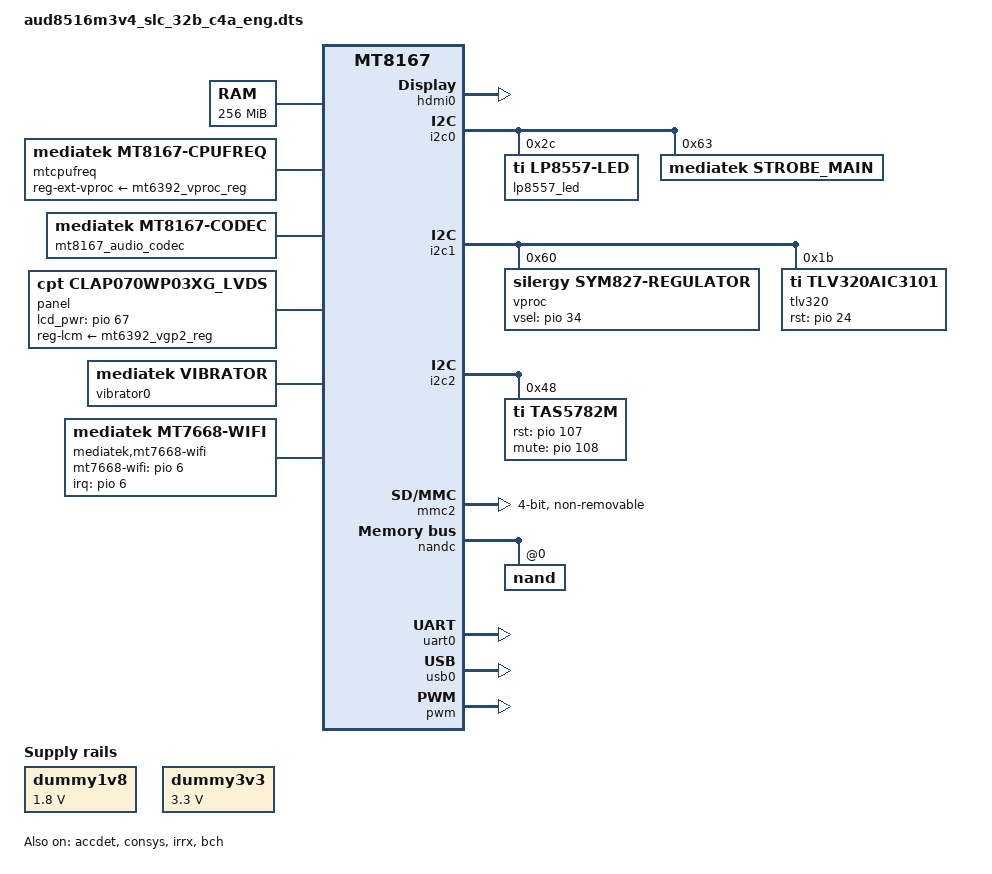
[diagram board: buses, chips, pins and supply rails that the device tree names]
/*
 * Copyright (c) 2014-2015 MediaTek Inc.
 *
 * This program is free software; you can redistribute it and/or modify
 * it under the terms of the GNU General Public License version 2 as
 * published by the Free Software Foundation.
 *
 * This program is distributed in the hope that it will be useful,
 * MERCHANTABILITY or FITNESS FOR A PARTICULAR PURPOSE.  See the
 * GNU General Public License for more details.
 */

/dts-v1/;

#include "mt8167.dtsi"
#include "mt8516-dcdc.dtsi"
#include "mt6392.dtsi"
/ {
	/*
	IMPORTANT: 	If you modify the memory size,please modify mtee-reserved-memory size together.
					mtee must be located begin with the last 3MB of dram
	*/
	memory@00000000 {
		device_type = "memory";
		reg = <0 0x40000000 0 0x10000000>;
	};

	reserved-memory {
		mtee-reserved-memory {
			compatible = "mediatek,mt8167-mtee-reserved-memory";
			no-map;
			reg = <0 0x4FD00000 0 0x300000>;
		};
	};

	/* chosen */
	chosen {
		bootargs = "console=tty0 console=ttyS0,921600n1 earlycon=uart8250,mmio32,0x11005000 ubi.mtd=8 root=ubi0:aud8516m3v4-slc-32b-c4a-eng-rootfs rootfstype=ubifs vmalloc=496M androidboot.hardware=aud8516m3v4-slc-32b-c4a-user";
	};

/* sensor standardization */
	cust_accel@0 {
		compatible = "mediatek,mpu6050g";
		i2c_num	= <2>;
		i2c_addr = <0x68 0 0 0>;
		direction = <7>;
		power_id = <0xffff>;
		power_vol = <0>;
		firlen = <0>;
		is_batch_supported = <0>;
	};

	cust_gyro@0 {
		compatible = "mediatek,mpu6050gy";
		i2c_num = <2>;
		i2c_addr = <0x68 0 0 0>;
		direction = <7>;
		power_id = <0xffff>;
		power_vol = <0>;
		firlen = <0>;
		is_batch_supported = <0>;
	};

	cust_mag@0 {
		compatible = "mediatek,akm09911";
		i2c_num = <2>;
		i2c_addr = <0x0C 0 0 0>;
		direction = <6>;
		power_id = <0xffff>;
		power_vol = <0>;
		is_batch_supported			= <0>;
	};
/* sensor gpio standization */

	dummy1v8: fixedregulator@0 {
		compatible = "regulator-fixed";
		regulator-name = "mmc_io";
		regulator-min-microvolt = <1800000>;
		regulator-max-microvolt = <1800000>;
		regulator-always-on;
	};

	dummy3v3: fixedregulator@1 {
		compatible = "regulator-fixed";
		regulator-name = "mmc_power";
		regulator-min-microvolt = <3300000>;
		regulator-max-microvolt = <3300000>;
		regulator-always-on;
	};

	ethernet: ethernet@11180000 {
		compatible = "mediatek,mt8516-ethernet";
		reg = <0 0x11180000 0 0x1000>,
		      <0 0x10003400 0 0x1000>;
		interrupts = <GIC_SPI 111 IRQ_TYPE_LEVEL_LOW>;
		eth-gpios = <&pio 34 0>;
		clocks = <&topckgen CLK_TOP_RG_ETH>,
			 <&topckgen CLK_TOP_66M_ETH>,
			 <&topckgen CLK_TOP_133M_ETH>;
		clock-names = "core", "reg", "trans";
		eth-regulator-supply = <&mt6392_vmch_reg>;
		pinctrl-names = "default";
		pinctrl-0 = <&ethernet_pins_default>;
		mac-address = [00 00 00 00 00 00];
		/*local-mac-address = [00 0C E7 06 00 00];*/
		status = "disabled";
	};

/*
	gpio-keys {
		compatible = "gpio-keys";
		pinctrl-names = "default";
		pinctrl-0 = <&blth_key>;

		button@0 {
			debounce_interval = <50>;
			wakeup-source;
			gpio-key,wakeup = <1>;
			gpios = <&pio 60 1>;
			label = "Bluetooth";
			linux,input-type = <0x1>;
			linux,code = <237>;
		};
	};
*/

	mtcpufreq {
		compatible = "mediatek,mt8167-cpufreq";
		reg-ext-vproc-supply = <&mt6392_vproc_reg>;
	};

	mt8167_audio_codec: mt8167_audio_codec {
		compatible = "mediatek,mt8167-codec";
		clocks = <&topckgen CLK_TOP_AUDIO>;
		clock-names = "bus";
		mediatek,afe-regmap = <&afe>;
		mediatek,apmixedsys-regmap = <&apmixedsys>;
		mediatek,pwrap-regmap = <&pwrap>;
		mediatek,speaker-mode = <0>; /* 0(CLASSD) 1(CLASSAB) */
		mediatek,dmic-wire-mode = <1>; /* 0(ONE_WIRE) 1(TWO_WIRE) */
	};

	panel: panel@0 {
		compatible = "cpt,clap070wp03xg_lvds";
		gpio_lcd_pwr = <&pio 67 0>;
		reg-lcm-supply = <&mt6392_vgp2_reg>;
	};

	sound: sound {
		compatible = "mediatek,mt8167s-som";
		mediatek,platform = <&afe>;
		pinctrl-names = "default";
		pinctrl-0 = <&aud_pins_default>;
		tdmadc-1p8v-supply = <&mt6392_vcn18_reg>;
		tdmadc-3p3v-supply = <&mt6392_vmch_reg>;
		mediatek,audio-codec = <&tas5782m>;
		mediatek,tdmin-adc = <&tlv320>;
		status = "okay";
	};


	vibrator0:vibrator@0 {
		compatible = "mediatek,vibrator";
		vib_timer = <25>;
		vib_limit = <9>;
		vib_vol= <5>;
	};

	/* WiFi */
	mediatek,mt7668-wifi {
		compatible = "mediatek,mt7668-wifi";
		mt7668-wifi-gpio = <&pio 6 0>;  /* WOW */
		interrupt-parent = <&pio>;
		interrupts = <6 IRQ_TYPE_LEVEL_LOW>; /* WOW IRQ */
	};
};

&accdet {
	interrupts-extended = <&sysirq GIC_SPI 152 IRQ_TYPE_LEVEL_LOW>,
			<&pio 16 IRQ_TYPE_LEVEL_HIGH>;
	eint-debounce = <256000>;
	accdet-gpio = <&pio 16 0>;
	accdet-mic-vol = <7>;
	headset-mode-setting = <0x500 0x500 1 0x1f0 0x800 0x800 0x20>;
	accdet-plugout-debounce = <20>;
	/*1:ACC mode, 2:low cost without in bias, 6:low cost with in bias*/
	accdet-mic-mode = <1>;
	/*0--MD_MAX--UP_MAX--DW_MAX*/
	headset-three-key-threshold = <0 80 220 500>;
	/*0--MD_MAX--VOICE_MAX--UP_MAX--DW_MAX*/
	headset-four-key-threshold = <0 58 121 192 450>;
	status = "okay";
};

&afe {
	/* 0(HDMI) 1(I2S) 2(TDM) */
	mediatek,tdm-out-mode = <1>;
	/* 0(IR1) 1(IRQ2) 4(IRQ7)*/
	mediatek,awb-irq-mode = <4>;
	mediatek,tdm-in-lrck-cycle = <1>;
	/*0(Spearated Mode) 1(Share Mode)*/
	mediatek,i2s-clock-modes = <1 1>;
};

&consys {
	pinctrl-names = "default", "gps_lna_state_init", "gps_lna_state_oh", "gps_lna_state_ol";
	pinctrl-0 = <&consys_pins_default>;
	pinctrl-1 = <&gpslna_pins_init>;
	pinctrl-2 = <&gpslna_pins_oh>;
	pinctrl-3 = <&gpslna_pins_ol>;
	vcn18-supply = <&mt6392_vcn18_reg>;
	vcn35-supply = <&mt6392_vcn35_reg>;
	status = "okay";
};

&cpu0 {
	proc-supply = <&mt6392_vproc_reg>;
};

&cpu1 {
	proc-supply = <&mt6392_vproc_reg>;
};

&cpu2 {
	proc-supply = <&mt6392_vproc_reg>;
};

&cpu3 {
	proc-supply = <&mt6392_vproc_reg>;
};

&hdmi0 {
	pinctrl-names = "default", "hdmi_hpd";
	pinctrl-0 = <&hdmi_pins_default>;
	pinctrl-1 = <&hdmi_pins_hpd>;
	status = "okay";
};

&i2c0 {
	clock-div = <2>;
	pinctrl-names = "default";
	pinctrl-0 = <&i2c0_pins_a>;
	status = "okay";


	lp8557_led@2c {
		compatible = "ti,lp8557-led";
		reg = <0x2c>;
	};

	strobe_main@63 {
		compatible = "mediatek,strobe_main";
		reg = <0x63>;
	};
};

&i2c1 {
	clock-div = <2>;
	pinctrl-names = "default";
	pinctrl-0 = <&i2c1_pins_a>;
	status = "okay";

	vproc: sym827@60 {
		compatible = "silergy,sym827-regulator";
		reg = <0x60>;
		regulator-name = "vproc";
		regulator-min-microvolt = <600000>;
		regulator-max-microvolt = <1387500>;
		regulator-enable-ramp-delay = <400>;
		regulator-ramp-delay = <8333>;
		regulator-always-on;
		vsel-gpio = <&pio 34 0>;
	};
/*
	// tdm in 4+2ch,0,1,3
	tlv320:tlv320aic3101@18 {
		compatible = "ti,tlv320aic3101";
		reg = <0x18>;
		rst-gpio = <&pio 24 0>;
		adc-pos = <0>;
		ref-ch = <2>;
		dmic-en =<0>;// 0 for amic, 1 for dmic
	};

	tlv320aic3101@19 {
		compatible = "ti,tlv320aic3101";
		reg = <0x19>;
		rst-gpio = <&pio 24 0>;
		adc-pos = <1>;
		ref-ch = <2>;
	};

	tlv320aic3101@1a {
		compatible = "ti,tlv320aic3101";
		reg = <0x1a>;
	};
*/
	tlv320:tlv320aic3101@1b {
		compatible = "ti,tlv320aic3101";
		reg = <0x1b>;
		rst-gpio = <&pio 24 0>;
		dmic-en =<1>;// 0 for amic, 1 for dmic
	};
};

&i2c2 {
	clock-div = <2>;
	pinctrl-names = "default";
	pinctrl-0 = <&i2c2_pins_a>;
	status = "okay";

	tas5782m: tas5782m@48 {
		compatible = "ti,tas5782m";
		reg = <0x48>;
		rst-gpio = <&pio 107 0>;
		mute-gpio = <&pio 108 0>;
	};
};

&irrx {
	pinctrl-names = "default";
	pinctrl-0 = <&irrx_pins_ir_input>;
	status = "okay";
};

&keypad {
	mediatek,kpd-key-debounce = <1024>;
	mediatek,kpd-sw-pwrkey = <116>;
	mediatek,kpd-hw-pwrkey = <8>;
	mediatek,kpd-sw-rstkey  = <114>;
	mediatek,kpd-hw-rstkey = <17>;
	mediatek,kpd-use-extend-type = <0>;
	/*HW Keycode [0~71] -> Linux Keycode*/
	mediatek,kpd-hw-map-num = <72>;
	mediatek,kpd-hw-init-map = <115 50 0 0 0 0 0 0 0 30 119 0 0 0 0 0 0 0 0 0 0 0 0 0
			0 0 0 0 0 0 0 0 0 0 0 0 0 0 0 0 0 0 0 0 0 0 0 0
			0 0 0 0 0 0 0 0 0 0 0 0 0 0 0 0 0 0 0 0 0 0 0 0 >;
	mediatek,kpd-pwrkey-eint-gpio = <0>;
	mediatek,kpd-pwkey-gpio-din  = <0>;
	mediatek,kpd-hw-dl-key0 = <0>;
	mediatek,kpd-hw-dl-key1 = <17>;
	mediatek,kpd-hw-dl-key2 = <8>;
	mediatek,kpd-hw-recovery-key = <17>;
	mediatek,kpd-hw-factory-key  = <0>;
	pinctrl-names = "default";
	pinctrl-0 = <&keypad_pins_default>;
};

&lcm {
	gpio_lcd_pwr = <&pio 67 0>;
	reg-lcm-supply = <&mt6392_vgp2_reg>;
};

&mmc2 {
	pinctrl-names = "default", "state_uhs", "state_dat1", "state_eint";
	pinctrl-0 = <&mmc2_pins_default>;
	pinctrl-1 = <&mmc2_pins_uhs>;
	pinctrl-2 = <&mmc2_pins_dat1>;
	pinctrl-3 = <&mmc2_dat1_eint>;
	eint-gpios = <&pio 71 0>;
	status = "okay";
	bus-width = <4>;
	max-frequency = <200000000>;
	cap-sd-highspeed;
	sd-uhs-sdr50;
	sd-uhs-sdr104;
	keep-power-in-suspend;
	enable-sdio-wakeup;
	cap-sdio-irq;
	non-removable;
};

&bch {
	status = "okay";
};

&nandc {
	pinctrl-names = "default";
	pinctrl-0 = <&nfi_pins_default>;
	vcc-supply = <&mt6392_vemc3v3_reg>;
	status = "okay";
	nand@0 {
		reg = <0>;
		nand-on-flash-bbt;
		nand-ecc-mode = "hw";
	};
};

&pio {
	pinctrl-names = "default";
	pinctrl-0 = <&state_default>;

	state_default:pinconf_default {
	};


pwm_goio_def_cfg: pwmdefault {
		pins_cmd_dat {
			pinmux = <MT8167_PIN_54_DISP_PWM__FUNC_PWM_B>;
			};
};

	aud_pins_default: audiodefault {
		pins_cmd_dat {
			pinmux = <MT8167_PIN_25_EINT25__FUNC_I2S_8CH_MCK>,
				 <MT8167_PIN_55_I2S_DATA_IN__FUNC_I2S_8CH_DO1>,
				 <MT8167_PIN_56_I2S_LRCK__FUNC_I2S_8CH_LRCK>,
				 <MT8167_PIN_57_I2S_BCK__FUNC_I2S_8CH_BCK>,
				 <MT8167_PIN_100_CMDAT0__FUNC_TDM_RX_MCK>,
				 <MT8167_PIN_101_CMDAT1__FUNC_TDM_RX_BCK>,
				 <MT8167_PIN_102_CMMCLK__FUNC_TDM_RX_LRCK>,
				 <MT8167_PIN_103_CMPCLK__FUNC_TDM_RX_DI>,
				 <MT8167_PIN_1_EINT1__FUNC_I2S2_DI>,
				 <MT8167_PIN_36_MRG_CLK__FUNC_I2S0_BCK>,
				 <MT8167_PIN_37_MRG_SYNC__FUNC_I2S0_LRCK>,
				 <MT8167_PIN_38_MRG_DI__FUNC_I2S0_DI>,
				 <MT8167_PIN_20_EINT20__FUNC_I2S3_DO>,
				 <MT8167_PIN_13_EINT13__FUNC_SPDIF_IN>;
				 drive-strength = <MTK_DRIVE_8mA>;
		};
			pins_cmd_dat1 {
		pinmux = <MT8167_PIN_22_EINT22__FUNC_SPDIF_OUT>;
		 drive-strength = <MTK_DRIVE_16mA>;
		};
	};
/*
	blth_key: eint60default {

		pins_cmd_dat {
			pins = <MT8167_PIN_60_SDA2__FUNC_GPIO60>;
			slew-rate = <0>;
			bias-pull-up = <MTK_PUPD_SET_R1R0_01>;
			input-enable;
		};

	};
*/
	
	/* CONSYS GPIO Settings - Start */
	consys_pins_default: default {

	};
	/* CONSYS GPIO Settings - End */

	ethernet_pins_default: ethernet {
		pins_ethernet {
			pinmux = <MT8167_PIN_0_EINT0__FUNC_EXT_TXD0>,
				 <MT8167_PIN_1_EINT1__FUNC_EXT_TXD1>,
				 <MT8167_PIN_2_EINT2__FUNC_EXT_TXD2>,
				 <MT8167_PIN_3_EINT3__FUNC_EXT_TXD3>,
				 <MT8167_PIN_4_EINT4__FUNC_EXT_TXC>,
				 <MT8167_PIN_5_EINT5__FUNC_EXT_RXER>,
				 /* <MT8167_PIN_6_EINT6__FUNC_EXT_RXC>, */
				 <MT8167_PIN_7_EINT7__FUNC_EXT_RXDV>,
				 <MT8167_PIN_8_EINT8__FUNC_EXT_RXD0>,
				 <MT8167_PIN_9_EINT9__FUNC_EXT_RXD1>,
				 <MT8167_PIN_10_EINT10__FUNC_EXT_RXD2>,
				 <MT8167_PIN_11_EINT11__FUNC_EXT_RXD3>,
				 <MT8167_PIN_12_EINT12__FUNC_EXT_TXEN>,
				 <MT8167_PIN_37_MRG_SYNC__FUNC_EXT_COL>,
				 <MT8167_PIN_38_MRG_DI__FUNC_EXT_MDIO>,
				 <MT8167_PIN_39_MRG_DO__FUNC_EXT_MDC>;
		};
	};

	/* CONSYS GPIO Settings - Start */
	gpslna_pins_init: gpslna@0 {
	};

	gpslna_pins_oh: gpslna@1 {
	};

	gpslna_pins_ol: gpslna@2 {
	};
	/* CONSYS GPIO Settings - End */

	hdmi_pins_default: hdmi_pins_default {
	};

	hdmi_pins_hpd: hdmi_pins_hpd {
		pins_cmd_dat {
			pins = <MT8167_PIN_122_HTPLG__FUNC_HTPLG>;
			slew-rate = <0>;
			bias-pull-down;
		};
	};

	i2c0_pins_a: i2c0@0 {
		pins1 {
			pinmux = <MT8167_PIN_58_SDA0__FUNC_SDA0_0>,
				 <MT8167_PIN_59_SCL0__FUNC_SCL0_0>;
			bias-disable;
		};
	};

	i2c1_pins_a: i2c1@0 {
		pins1 {
			pinmux = <MT8167_PIN_52_SDA1__FUNC_SDA1_0>,
				 <MT8167_PIN_53_SCL1__FUNC_SCL1_0>;
			bias-disable;
		};
	};

	i2c2_pins_a: i2c2@0 {
		pins1 {
			pinmux = <MT8167_PIN_60_SDA2__FUNC_SDA2_0>,
				 <MT8167_PIN_61_SCL2__FUNC_SCL2_0>;
			bias-disable;
		};
	};
	
	
	irrx_pins_ir_input: irrx_pin_ir {
		pins_cmd_dat {
		pinmux = <MT8167_PIN_23_EINT23__FUNC_IR>;
		bias-pull-up = <100>;
		};
	};

	keypad_pins_default:keypaddefault {
		pins_row {
			pinmux = <MT8167_PIN_40_KPROW0__FUNC_KPROW0>,
				 <MT8167_PIN_41_KPROW1__FUNC_KPROW1>;
			output-low;
			bias-pull-down = <100>;
		};

		pins_col {
			pinmux = <MT8167_PIN_42_KPCOL0__FUNC_KPCOL0>,
				 <MT8167_PIN_43_KPCOL1__FUNC_KPCOL1>;
			input-enable;
			bias-pull-up = <101>;
		};
	};
	mmc2_pins_default: mmc2default {
		pins_cmd_dat {
			pinmux = <MT8167_PIN_70_MSDC2_DAT0__FUNC_MSDC2_DAT0>,
				<MT8167_PIN_71_MSDC2_DAT1__FUNC_MSDC2_DAT1>,
				<MT8167_PIN_72_MSDC2_DAT2__FUNC_MSDC2_DAT2>,
				<MT8167_PIN_73_MSDC2_DAT3__FUNC_MSDC2_DAT3>,
				<MT8167_PIN_68_MSDC2_CMD__FUNC_MSDC2_CMD>;
			input-enable;
			drive-strength = <MTK_DRIVE_6mA>;
			bias-pull-up = <MTK_PUPD_SET_R1R0_01>;
		};

		pins_clk {
			pinmux = <MT8167_PIN_69_MSDC2_CLK__FUNC_MSDC2_CLK>;
			drive-strength = <MTK_DRIVE_6mA>;
			bias-pull-down = <MTK_PUPD_SET_R1R0_10>;
		};

		pins_pmu_en {
			pins = <MT8167_PIN_2_EINT2__FUNC_GPIO2>;
			output-low;
		};
	};

	mmc2_pins_uhs: mmc2@0 {
		pins_cmd_dat {
			pinmux = <MT8167_PIN_70_MSDC2_DAT0__FUNC_MSDC2_DAT0>,
				<MT8167_PIN_71_MSDC2_DAT1__FUNC_MSDC2_DAT1>,
				<MT8167_PIN_72_MSDC2_DAT2__FUNC_MSDC2_DAT2>,
				<MT8167_PIN_73_MSDC2_DAT3__FUNC_MSDC2_DAT3>,
				<MT8167_PIN_68_MSDC2_CMD__FUNC_MSDC2_CMD>;
			input-enable;
			drive-strength = <MTK_DRIVE_6mA>;
			bias-pull-up = <MTK_PUPD_SET_R1R0_01>;
		};

		pins_clk {
			pinmux = <MT8167_PIN_69_MSDC2_CLK__FUNC_MSDC2_CLK>;
			drive-strength = <MTK_DRIVE_8mA>;
			bias-pull-down = <MTK_PUPD_SET_R1R0_10>;
		};

		pins_pmu_en {
			pins = <MT8167_PIN_2_EINT2__FUNC_GPIO2>;
			output-high;
		};
	};

	mmc2_pins_dat1: mmc2_dat1 {
		pins_dat1 {
			pinmux = <MT8167_PIN_71_MSDC2_DAT1__FUNC_MSDC2_DAT1>;
			input-enable;
			drive-strength = <MTK_DRIVE_8mA>;
			bias-pull-up = <MTK_PUPD_SET_R1R0_10>;
		};
	};

	mmc2_dat1_eint: dat1_eint {
		pins_dat1 {
			pinmux = <MT8167_PIN_71_MSDC2_DAT1__FUNC_GPIO71>;
			input-enable;
			bias-pull-up = <MTK_PUPD_SET_R1R0_10>;
		};
	};

	nfi_pins_default: nfidefault {
		pins_dat {
			pinmux = <MT8167_PIN_114_MSDC0_RSTB__FUNC_NLD0>,
				<MT8167_PIN_117_MSDC0_DAT3__FUNC_NLD1>,
				<MT8167_PIN_120_MSDC0_DAT0__FUNC_NLD2>,
				<MT8167_PIN_113_MSDC0_DAT4__FUNC_NLD3>,
				<MT8167_PIN_112_MSDC0_DAT5__FUNC_NLD4>,
				<MT8167_PIN_118_MSDC0_DAT2__FUNC_NLD5>,
				<MT8167_PIN_111_MSDC0_DAT6__FUNC_NLD6>,
				<MT8167_PIN_110_MSDC0_DAT7__FUNC_NLD7>,
				<MT8167_PIN_119_MSDC0_DAT1__FUNC_NLD8>;
			input-enable;
			drive-strength = <MTK_DRIVE_8mA>;
			bias-pull-up;
		};

		pins_cmd {
			pinmux = <MT8167_PIN_14_EINT14__FUNC_NCLE>,
				<MT8167_PIN_17_EINT17__FUNC_NREB>,
				/*<MT8167_PIN_22_EINT22__FUNC_NRE_C>,*/
				/*<MT8167_PIN_23_EINT23__FUNC_NDQS_C>,*/
				<MT8167_PIN_115_MSDC0_CMD__FUNC_NALE>,
				<MT8167_PIN_116_MSDC0_CLK__FUNC_NWEB>,
				<MT8167_PIN_15_EINT15__FUNC_NCEB1>,
				<MT8167_PIN_16_EINT16__FUNC_NCEB0>,
				<MT8167_PIN_21_EINT21__FUNC_NRNB>;
			drive-strength = <MTK_DRIVE_8mA>;
			bias-pull-up = <MTK_PUPD_SET_R1R0_10>;
		};
	};

/* USB GPIO start */
	usb0_drvvbus: drvvbus_init {
		pins_cmd_dat {
			pins = <MT8167_PIN_49_SPI_CK__FUNC_GPIO49>;
			output-low;
		};
	};

	usb0_drvvbus_high: drvvbus_high {
		pins_cmd_dat {
			pins = <MT8167_PIN_49_SPI_CK__FUNC_GPIO49>;
			slew-rate = <1>;
			output-high;
		};
	};

	usb0_drvvbus_low: drvvbus_low {
		pins_cmd_dat {
			pins = <MT8167_PIN_49_SPI_CK__FUNC_GPIO49>;
			slew-rate = <1>;
			output-low;
		};
	};

	usb0_iddig: iddig_irq_init {
		pins_cmd_dat {
			pins = <MT8167_PIN_19_EINT19__FUNC_IDDIG>;
			slew-rate = <0>;
			bias-pull-up = <00>;
		};
	};
/* USB GPIO end */

	uart0_pin: uart0default {
		pins_rx {
			pinmux = <MT8167_PIN_62_URXD0__FUNC_URXD0>;
			input-enable;
			bias-pull-up;
		};
		pins_tx {
			pinmux = <MT8167_PIN_63_UTXD0__FUNC_UTXD0>;
		};
	};

	uart1_pin: uart1default {
		pins_rx {
			pinmux = <MT8167_PIN_64_URXD1__FUNC_URXD1>;
			input-enable;
			bias-pull-up;
		};
		pins_tx {
			pinmux = <MT8167_PIN_65_UTXD1__FUNC_UTXD1>;
		};
	};

	uart2_pin: uart2default {
		pins_rx {
			pinmux = <MT8167_PIN_34_URXD2__FUNC_URXD2>;
			input-enable;
			bias-pull-up;
		};
		pins_tx {
			pinmux = <MT8167_PIN_35_UTXD2__FUNC_UTXD2>;
		};
	};
};

&pmic {
	interrupt-parent = <&pio>;
	interrupts = <28 IRQ_TYPE_LEVEL_HIGH>;
	interrupt-controller;
	#interrupt-cells = <2>;

	mt6392keys: mt6392keys {
		compatible = "mediatek,mt6392-keys";
		mediatek,pwrkey-code = <116>;
		mediatek,homekey-code = <114>;
		mediatek,long-press-mode = <0>;
		mediatek,long-press-duration = <0>;
	};
};

&ptp_od {
	vproc-supply = <&mt6392_vproc_reg>;
	vcore-supply = <&mt6392_vcore_reg>;
};

&uart0 {
	status="okay";
};

&uart1 {
	pinctrl-names = "default";
	pinctrl-0 = <&uart1_pin>;
};

&uart2 {
	pinctrl-names = "default";
	pinctrl-0 = <&uart2_pin>;
};

&usb0 {
	interrupts-extended = <&sysirq GIC_SPI 72 IRQ_TYPE_LEVEL_LOW>,
										<&pmic 10 IRQ_TYPE_LEVEL_HIGH>;
	pinctrl-names = "iddig_irq_init", "drvvbus_init", "drvvbus_low", "drvvbus_high";
	pinctrl-0 = <&usb0_iddig>;
	pinctrl-1 = <&usb0_drvvbus>;
	pinctrl-2 = <&usb0_drvvbus_low>;
	pinctrl-3 = <&usb0_drvvbus_high>;
	status = "okay";
	drvvbus_gpio = <&pio 49 2>;
	iddig_gpio = <&pio 19 2>;
};

&pwm {
	pinctrl-names = "default";
	pinctrl-0 = <&pwm_goio_def_cfg>;
	status = "okay";
};
